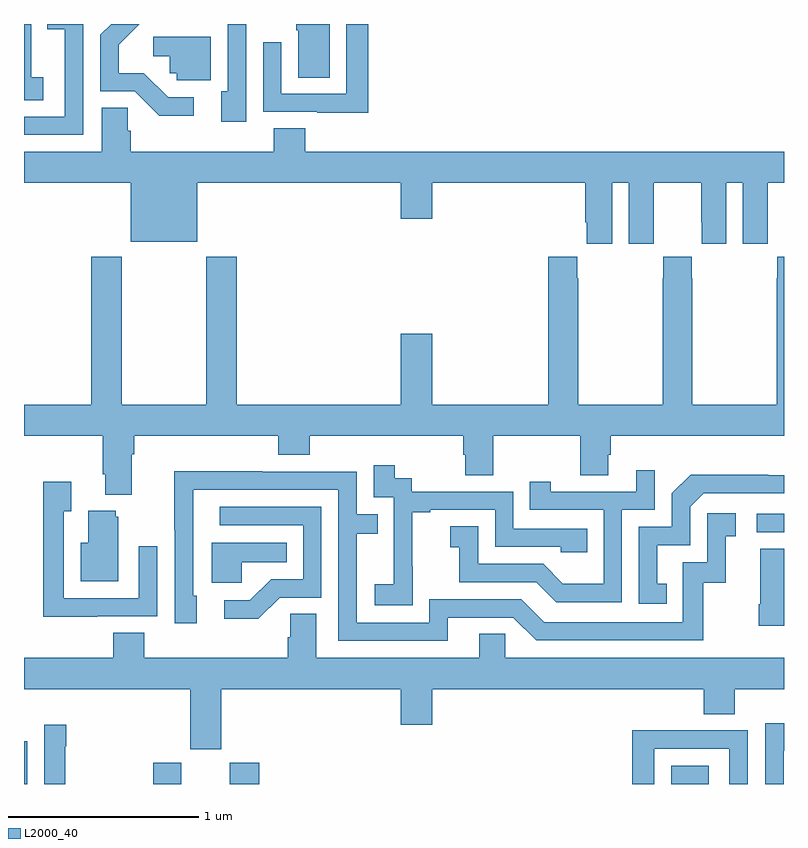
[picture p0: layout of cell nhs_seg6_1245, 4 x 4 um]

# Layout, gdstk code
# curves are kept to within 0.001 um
import gdstk
lib = gdstk.Library(unit=1e-6, precision=1e-09)
def R(c, l, rs):  # rectangles x0, y0, x1, y1
    for r in rs: c.add(gdstk.rectangle(r[:2], r[2:], *l))
def P(c, l, *ps):  # polygons
    for p in ps: c.add(gdstk.Polygon(p, *l))
L2000_40 = (2000, 40)

nhs_seg6_1245 = lib.new_cell('nhs_seg6_1245')
R(nhs_seg6_1245, L2000_40, [(187,949.5,187.017,949.726), (187.681,949.5,187.828,949.611), (188.084,949.5,188.237,949.611), (190.406,949.5,190.603,949.597), (190.857,950.826,191,950.922)])
P(nhs_seg6_1245, L2000_40, [(188.608,953.5),(188.432,953.5),(188.432,953.466),(188.444,953.466),(188.444,953.218),(188.608,953.218)],
  [(188.813,953.5),(188.697,953.5),(188.697,953.133),(188.355,953.133),(188.355,953.404),(188.259,953.404),(188.259,953.037),(188.543,953.037),(188.543,953.033),(188.813,953.033)],
  [(187.894,953.115),(187.758,953.115),(187.631,953.242),(187.498,953.242),(187.498,953.392),(187.606,953.5),(187.458,953.5),(187.401,953.443),(187.401,953.145),(187.584,953.145),(187.712,953.018),(187.894,953.018)],
  [(187.311,953.5),(187.123,953.5),(187.123,953.472),(187.214,953.472),(187.214,953.013),(187,953.013),(187,952.917),(187.311,952.917)],
  [(188.169,953.5),(188.073,953.5),(188.073,953.146),(188.039,953.146),(188.039,952.986),(188.169,952.986)],
  [(187.102,953.22),(187.038,953.22),(187.038,953.5),(187,953.5),(187,953.098),(187.102,953.098)],
  [(187.984,953.433),(187.68,953.433),(187.68,953.33),(187.767,953.33),(187.767,953.241),(187.803,953.241),(187.803,953.205),(187.984,953.205)],
  [(188.48,952.952),(188.315,952.952),(188.315,952.828),(187.562,952.828),(187.562,952.938),(187.547,952.938),(187.547,953.06),(187.409,953.06),(187.409,952.828),(187,952.828),(187,952.664),(187.562,952.664),(187.562,952.355),(187.912,952.355),(187.912,952.664),(188.984,952.664),(188.984,952.476),(189.148,952.476),(189.148,952.664),(189.953,952.664),(189.953,952.456),(189.962,952.456),(189.962,952.344),(190.096,952.344),(190.096,952.664),(190.184,952.664),(190.184,952.344),(190.314,952.344),(190.314,952.456),(190.315,952.456),(190.315,952.664),(190.565,952.664),(190.565,952.456),(190.566,952.456),(190.566,952.344),(190.696,952.344),(190.696,952.664),(190.784,952.664),(190.784,952.344),(190.914,952.344),(190.914,952.456),(190.915,952.456),(190.915,952.664),(191,952.664),(191,952.828),(188.48,952.828)],
  [(187.567,951.236),(187.58,951.236),(187.58,951.332),(188.339,951.332),(188.339,951.233),(188.504,951.233),(188.504,951.332),(189.311,951.332),(189.311,951.234),(189.323,951.234),(189.323,951.124),(189.471,951.124),(189.471,951.332),(189.928,951.332),(189.928,951.124),(190.075,951.124),(190.075,951.234),(190.088,951.234),(190.088,951.332),(191,951.332),(191,952.276),(190.965,952.276),(190.965,952.163),(190.963,952.163),(190.963,951.496),(190.518,951.496),(190.518,952.163),(190.515,952.163),(190.515,952.276),(190.365,952.276),(190.365,952.163),(190.363,952.163),(190.363,951.496),(189.918,951.496),(189.918,952.163),(189.911,952.163),(189.911,952.276),(189.758,952.276),(189.758,951.496),(189.148,951.496),(189.148,951.871),(188.984,951.871),(188.984,951.496),(188.12,951.496),(188.12,952.276),(187.96,952.276),(187.96,951.496),(187.515,951.496),(187.515,952.276),(187.355,952.276),(187.355,951.496),(187,951.496),(187,951.332),(187.415,951.332),(187.415,951.13),(187.427,951.13),(187.427,951.023),(187.567,951.023)],
  [(189.045,950.647),(189.044,950.647),(189.044,950.931),(189.139,950.931),(189.139,950.943),(189.48,950.943),(189.48,950.748),(189.825,950.748),(189.825,950.721),(189.965,950.721),(189.965,950.844),(189.576,950.844),(189.576,951.039),(189.042,951.039),(189.042,951.108),(188.95,951.108),(188.95,951.178),(188.841,951.178),(188.841,951.009),(188.946,951.009),(188.946,950.78),(188.945,950.78),(188.945,950.551),(188.847,950.551),(188.847,950.441),(189.045,950.441)],
  [(190.146,950.943),(190.32,950.943),(190.32,951.151),(190.223,951.151),(190.223,951.039),(189.772,951.039),(189.772,951.091),(189.661,951.091),(189.661,950.943),(190.05,950.943),(190.05,950.554),(189.836,950.554),(189.732,950.658),(189.39,950.658),(189.39,950.857),(189.243,950.857),(189.243,950.747),(189.292,950.747),(189.292,950.562),(189.695,950.562),(189.8,950.457),(190.146,950.457)],
  [(189.229,950.376),(189.576,950.376),(189.696,950.256),(190.576,950.256),(190.576,950.559),(190.694,950.559),(190.694,950.805),(190.747,950.805),(190.747,950.926),(190.596,950.926),(190.596,950.667),(190.467,950.667),(190.467,950.352),(189.738,950.352),(189.618,950.472),(189.132,950.472),(189.132,950.349),(188.751,950.349),(188.751,950.818),(188.861,950.818),(188.861,950.919),(188.751,950.919),(188.751,951.144),(188.255,951.144),(188.255,951.146),(187.792,951.146),(187.792,950.839),(187.794,950.839),(187.794,950.346),(187.909,950.346),(187.909,950.49),(187.89,950.49),(187.891,951.048),(188.655,951.048),(188.655,950.253),(189.229,950.253)],
  [(190.382,950.553),(190.333,950.553),(190.333,950.757),(190.506,950.757),(190.506,950.958),(190.578,951.03),(191,951.03),(191,951.126),(190.916,951.126),(190.916,951.128),(190.508,951.128),(190.41,951.03),(190.41,950.853),(190.236,950.853),(190.236,950.448),(190.382,950.448)],
  [(187.385,950.382),(187.701,950.382),(187.701,950.752),(187.605,950.752),(187.605,950.478),(187.209,950.478),(187.209,950.935),(187.249,950.935),(187.249,951.091),(187.101,951.091),(187.101,950.381),(187.385,950.381)],
  [(188.346,950.481),(188.565,950.481),(188.565,950.958),(188.031,950.958),(188.031,950.862),(188.469,950.862),(188.469,950.577),(188.3,950.577),(188.189,950.466),(188.055,950.466),(188.055,950.369),(188.233,950.369)],
  [(187.495,950.907),(187.484,950.907),(187.484,950.938),(187.337,950.938),(187.337,950.77),(187.298,950.77),(187.298,950.567),(187.495,950.567)],
  [(188.145,950.666),(188.384,950.666),(188.384,950.77),(187.988,950.77),(187.988,950.558),(188.145,950.558)],
  [(191,950.737),(190.874,950.737),(190.874,950.446),(190.867,950.446),(190.867,950.334),(191,950.334)],
  [(188.038,950),(188.984,950),(188.984,949.812),(189.148,949.812),(189.148,950),(190.577,950),(190.577,949.867),(190.742,949.867),(190.742,950),(191,950),(191,950.164),(189.534,950.164),(189.534,950.291),(189.395,950.291),(189.395,950.164),(188.539,950.164),(188.539,950.396),(188.4,950.396),(188.4,950.273),(188.387,950.273),(188.387,950.164),(187.634,950.164),(187.634,950.297),(187.469,950.297),(187.469,950.164),(187,950.164),(187,950),(187.874,950),(187.874,949.683),(188.038,949.683)],
  [(190.998,949.674),(191,949.674),(191,949.819),(190.902,949.819),(190.902,949.5),(190.998,949.5)],
  [(187.216,949.7),(187.223,949.7),(187.223,949.813),(187.107,949.813),(187.107,949.5),(187.216,949.5)],
  [(190.317,949.686),(190.713,949.686),(190.713,949.5),(190.809,949.5),(190.809,949.782),(190.493,949.782),(190.493,949.784),(190.201,949.784),(190.201,949.5),(190.317,949.5)])

lib.write_gds('nhs_seg6_1245.gds')
